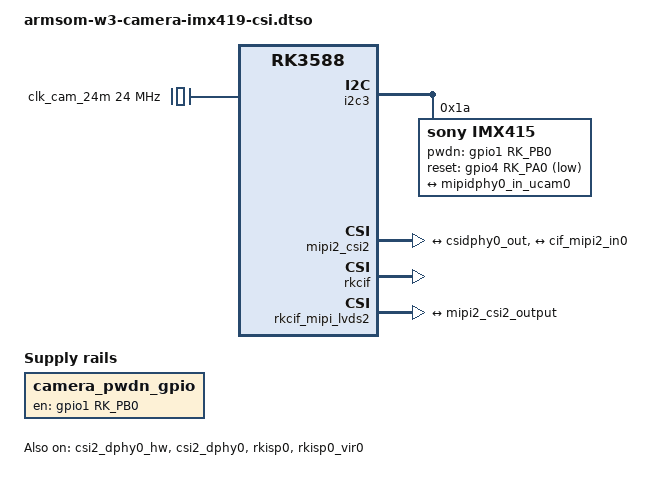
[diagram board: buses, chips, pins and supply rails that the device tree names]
/dts-v1/;
/plugin/;

#include <dt-bindings/clock/rk3588-cru.h>
#include <dt-bindings/power/rk3588-power.h>
#include <dt-bindings/gpio/gpio.h>
#include <dt-bindings/pinctrl/rockchip.h>

/ {
	compatible = "rockchip,rk3588";

	fragment@0 {
		target = <&camera_pwdn_gpio>;
		__overlay__ {
			status = "okay";
			compatible = "regulator-fixed";
			regulator-name = "camera_pwdn_gpio";
			regulator-always-on;
			regulator-boot-on;
			enable-active-high;
			gpio = <&gpio1 RK_PB0 GPIO_ACTIVE_HIGH>;
			pinctrl-names = "default";
			pinctrl-0 = <&cam_pwdn_gpio>;
		};
	};

	fragment@1 {
		target = <&clk_cam_24m>;
		__overlay__ {
			status = "okay";
			compatible = "fixed-clock";
			clock-frequency = <24000000>;
			clock-output-names = "clk_cam_24m";
			#clock-cells = <0>;
		};
	};

	fragment@2 {
		target = <&i2c3>;
		__overlay__ {
			status = "okay";

			imx415: imx415@1a {
				status = "okay";
				compatible = "sony,imx415";
				reg = <0x1a>;
				clocks = <&cru CLK_MIPI_CAMARAOUT_M3>;
				clock-names = "xvclk";
				pinctrl-names = "default";
				pinctrl-0 = <&mipim0_camera3_clk>;
				power-domains = <&power RK3588_PD_VI>;
				pwdn-gpios = <&gpio1 RK_PB0 GPIO_ACTIVE_HIGH>;
				reset-gpios = <&gpio4 RK_PA0 GPIO_ACTIVE_LOW>;
				rockchip,camera-module-index = <0>;
				rockchip,camera-module-facing = "back";
				rockchip,camera-module-name = "CMK-OT2022-PX1";
				rockchip,camera-module-lens-name = "IR0147-50IRC-8M-F20";
				port {
					imx415_out0: endpoint {
						remote-endpoint = <&mipidphy0_in_ucam0>;
						data-lanes = <1 2 3 4>;
					};
				};
			};

			camera_imx219: camera-imx219@10 {
				status = "disabled";
				compatible = "sony,imx219";
				reg = <0x10>;
				clocks = <&clk_cam_24m>;
				clock-names = "xvclk";
				rockchip,camera-module-index = <0>;
				rockchip,camera-module-facing = "back";
				rockchip,camera-module-name = "rpi-camera-v2";
				rockchip,camera-module-lens-name = "default";
				port {
					imx219_out0: endpoint {
						remote-endpoint = <&mipidphy0_in_ucam1>;
						data-lanes = <1 2>;
					};
				};
			};
		};
	};

	fragment@3 {
		target = <&csi2_dphy0_hw>;
		__overlay__ {
			status = "okay";
		};
	};

	fragment@4 {
		target = <&csi2_dphy0>;
		__overlay__ {
			status = "okay";

			ports {
				#address-cells = <1>;
				#size-cells = <0>;

				port@0 {
					reg = <0>;
					#address-cells = <1>;
					#size-cells = <0>;

					mipidphy0_in_ucam0: endpoint@1 {
						reg = <1>;
						remote-endpoint = <&imx415_out0>;
						data-lanes = <1 2 3 4>;
					};

					mipidphy0_in_ucam1: endpoint@2 {
						reg = <2>;
						remote-endpoint = <&imx219_out0>;
						data-lanes = <1 2>;
					};
				};

				port@1 {
					reg = <1>;
					#address-cells = <1>;
					#size-cells = <0>;

					csidphy0_out: endpoint@0 {
						reg = <0>;
						remote-endpoint = <&mipi2_csi2_input>;
					};
				};
			};
		};
	};

	fragment@5 {
		target = <&mipi2_csi2>;
		__overlay__ {
			status = "okay";

			ports {
				#address-cells = <1>;
				#size-cells = <0>;

				port@0 {
					reg = <0>;
					#address-cells = <1>;
					#size-cells = <0>;

					mipi2_csi2_input: endpoint@1 {
						reg = <1>;
						remote-endpoint = <&csidphy0_out>;
					};
				};

				port@1 {
					reg = <1>;
					#address-cells = <1>;
					#size-cells = <0>;

					mipi2_csi2_output: endpoint@0 {
						reg = <0>;
						remote-endpoint = <&cif_mipi2_in0>;
					};
				};
			};
		};
	};

	fragment@6 {
		target = <&rkcif>;
		__overlay__ {
			status = "okay";
		};
	};

	fragment@7 {
		target = <&rkcif_mipi_lvds2>;
		__overlay__ {
			status = "okay";

			port {
				cif_mipi2_in0: endpoint {
					remote-endpoint = <&mipi2_csi2_output>;
				};
			};
		};
	};

	fragment@8 {
		target = <&rkcif_mmu>;
		__overlay__ {
			status = "okay";
		};
	};

	fragment@9 {
		target = <&rkisp0>;
		__overlay__ {
			status = "okay";
		};
	};

	fragment@10 {
		target = <&isp0_mmu>;
		__overlay__ {
			status = "okay";
		};
	};

	fragment@11 {
		target = <&rkisp0_vir0>;
		__overlay__ {
			status = "okay";

			port {
				#address-cells = <1>;
				#size-cells = <0>;

				isp0_vir0: endpoint@0 {
					reg = <0>;
					remote-endpoint = <&mipi_lvds2_sditf>;
				};
			};
		};
	};

	fragment@12 {
		target = <&pinctrl>;
		__overlay__ {
			camera {
				cam_pwdn_gpio: cam-pwdn-gpio {
					rockchip,pins = <1 RK_PB0 RK_FUNC_GPIO &pcfg_pull_up>;
				};
			};
		};
	};
};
